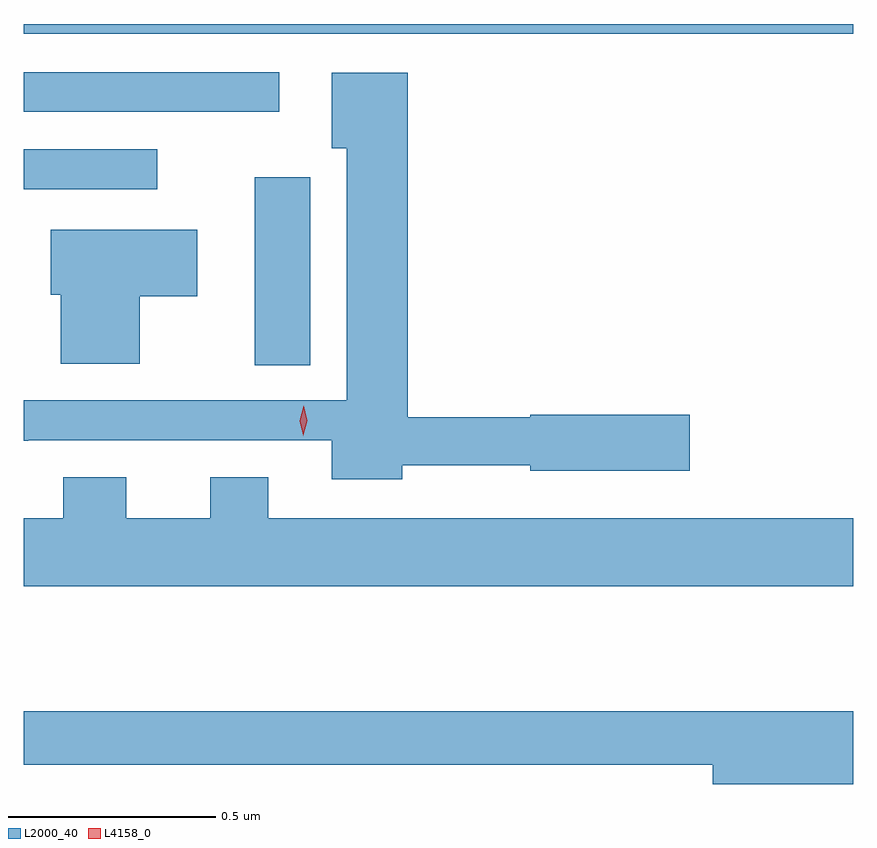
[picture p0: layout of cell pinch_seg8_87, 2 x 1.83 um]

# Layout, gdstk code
import gdstk
lib = gdstk.Library(unit=1e-6, precision=1e-09)
def R(c, l, rs):  # rectangles x0, y0, x1, y1
    for r in rs: c.add(gdstk.rectangle(r[:2], r[2:], *l))
def P(c, l, *ps):  # polygons
    for p in ps: c.add(gdstk.Polygon(p, *l))
L2000_40 = (2000, 40)
L4158_0 = (4158, 0)

pinch_seg8_87 = lib.new_cell('pinch_seg8_87')
R(pinch_seg8_87, L2000_40, [(1045.358,1119.697,1045.492,1120.15), (1044.801,1120.122,1045.123,1120.218), (1044.801,1120.308,1045.417,1120.404), (1044.801,1120.496,1046.801,1120.52)])
P(pinch_seg8_87, L2000_40, [(1045.714,1119.456),(1046.022,1119.456),(1046.022,1119.443),(1046.407,1119.443),(1046.407,1119.578),(1046.022,1119.578),(1046.022,1119.572),(1045.727,1119.572),(1045.727,1120.402),(1045.544,1120.402),(1045.544,1120.22),(1045.58,1120.22),(1045.58,1119.612),(1044.801,1119.612),(1044.801,1119.515),(1044.812,1119.515),(1044.812,1119.516),(1045.544,1119.516),(1045.544,1119.422),(1045.714,1119.422)],
  [(1045.081,1119.863),(1045.219,1119.863),(1045.219,1120.024),(1044.866,1120.024),(1044.866,1119.867),(1044.89,1119.867),(1044.89,1119.701),(1045.081,1119.701)],
  [(1046.801,1119.328),(1045.39,1119.328),(1045.39,1119.427),(1045.25,1119.427),(1045.25,1119.328),(1045.048,1119.328),(1045.048,1119.427),(1044.896,1119.427),(1044.896,1119.328),(1044.801,1119.328),(1044.801,1119.164),(1046.801,1119.164)],
  [(1046.801,1118.863),(1044.801,1118.863),(1044.801,1118.734),(1046.462,1118.734),(1046.462,1118.687),(1046.801,1118.687)])
P(pinch_seg8_87, L4158_0, [(1045.475,1119.527),(1045.475,1119.528),(1045.466,1119.563),(1045.476,1119.599),(1045.476,1119.599),(1045.476,1119.599),(1045.485,1119.563),(1045.475,1119.528)])

lib.write_gds('pinch_seg8_87.gds')
